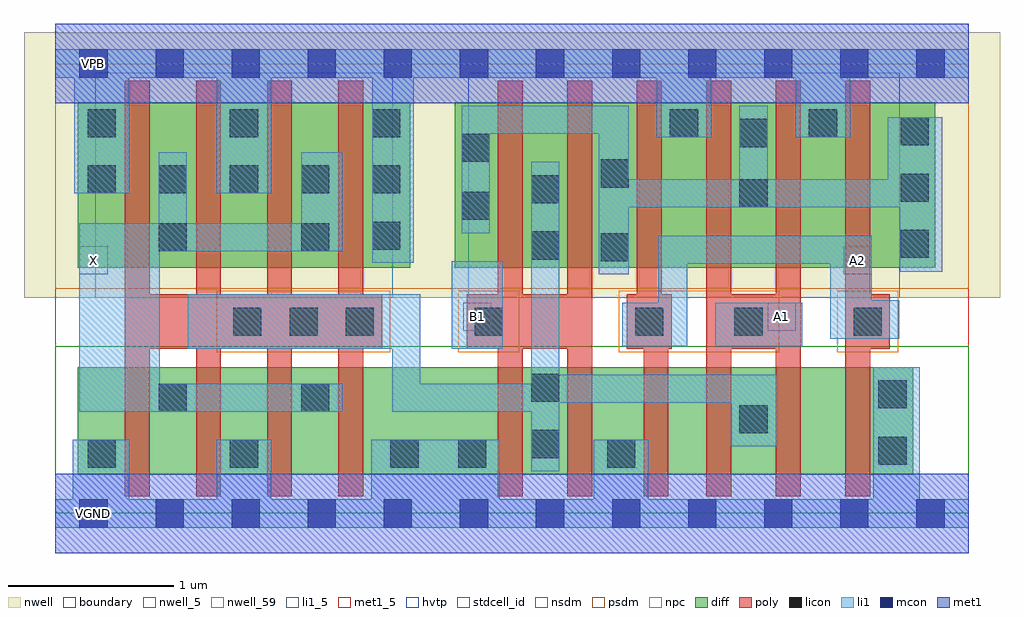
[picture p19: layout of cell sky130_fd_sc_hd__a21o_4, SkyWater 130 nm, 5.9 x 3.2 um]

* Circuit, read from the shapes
.subckt sky130_fd_sc_hd__a21o_4 A1 A2 B1 VGND VNB VPB VPWR X
XM1 X n1 VGND VNB sky130_fd_pr__nfet_01v8 w=0.65 l=0.15 m=4
XM2 n1 B1 VGND VNB sky130_fd_pr__nfet_01v8 w=0.65 l=0.15 m=2
XM3 n2 A2 VGND VNB sky130_fd_pr__nfet_01v8 w=0.65 l=0.15
XM4 n1 A1 n2 VNB sky130_fd_pr__nfet_01v8 w=0.65 l=0.15
XM5 n3 A1 n1 VNB sky130_fd_pr__nfet_01v8 w=0.65 l=0.15
XM6 VGND A2 n3 VNB sky130_fd_pr__nfet_01v8 w=0.65 l=0.15
XM7 X n1 VPWR VPB sky130_fd_pr__pfet_01v8_hvt w=1 l=0.15 m=4
XM8 n1 B1 n4 VPB sky130_fd_pr__pfet_01v8_hvt w=1 l=0.15 m=2
XM9 VPWR A2 n4 VPB sky130_fd_pr__pfet_01v8_hvt w=1 l=0.15 m=2
XM10 n4 A1 VPWR VPB sky130_fd_pr__pfet_01v8_hvt w=1 l=0.15 m=2
.ends

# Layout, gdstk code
import gdstk
lib = gdstk.Library(unit=1e-6, precision=1e-09)
def R(c, l, rs):  # rectangles x0, y0, x1, y1
    for r in rs: c.add(gdstk.rectangle(r[:2], r[2:], *l))
def A(c, l, x, y, w, h, nx, ny, dx, dy):  # array of equal rectangles
    R(c, l, [(x+i*dx, y+j*dy, x+i*dx+w, y+j*dy+h) for i in range(nx) for j in range(ny)])
nwell_5 = (64, 5)
nwell = (64, 20)
nwell_59 = (64, 59)
diff = (65, 20)
poly = (66, 20)
licon = (66, 44)
li1_5 = (67, 5)
li1 = (67, 20)
mcon = (67, 44)
met1_5 = (68, 5)
met1 = (68, 20)
hvtp = (78, 44)
stdcell_id = (81, 4)
nsdm = (93, 44)
psdm = (94, 20)
npc = (95, 20)
boundary = (235, 4)

sky130_fd_sc_hd__a21o_4 = lib.new_cell('sky130_fd_sc_hd__a21o_4')
R(sky130_fd_sc_hd__a21o_4, nwell_5, [(0.145,2.635,0.315,2.805)])
R(sky130_fd_sc_hd__a21o_4, nwell, [(-0.19,1.305,5.71,2.91)])
R(sky130_fd_sc_hd__a21o_4, nwell_59, [(0.145,-0.085,0.315,0.085)])
R(sky130_fd_sc_hd__a21o_4, diff, [(0.135,0.235,5.185,0.885), (0.135,1.485,2.145,2.485), (2.415,1.485,5.32,2.485)])
A(sky130_fd_sc_hd__a21o_4, poly, 0.42, 0.105, 0.15, 0.89, 4, 1, 0.43, 0)
A(sky130_fd_sc_hd__a21o_4, poly, 3.935, 0.105, 0.15, 0.89, 3, 1, 0.42, 0)
A(sky130_fd_sc_hd__a21o_4, poly, 0.42, 1.325, 0.15, 1.29, 4, 1, 0.43, 0)
A(sky130_fd_sc_hd__a21o_4, poly, 2.675, 1.325, 0.15, 1.29, 6, 1, 0.42, 0)
R(sky130_fd_sc_hd__a21o_4, poly, [(2.675,0.105,2.825,0.995), (3.095,0.105,3.245,0.995), (3.555,0.105,3.705,0.995), (0.42,0.995,1.975,1.325), (2.485,0.995,3.245,1.325), (3.455,0.995,3.725,1.325), (3.935,0.995,4.505,1.325), (4.775,0.995,5.045,1.325)])
A(sky130_fd_sc_hd__a21o_4, licon, 1.075, 1.075, 0.17, 0.17, 3, 1, 0.34, 0)
A(sky130_fd_sc_hd__a21o_4, licon, 5.11, 1.545, 0.17, 0.17, 1, 3, 0, 0.34)
A(sky130_fd_sc_hd__a21o_4, licon, 0.195, 1.935, 0.17, 0.17, 5, 1, 0.43, 0)
A(sky130_fd_sc_hd__a21o_4, licon, 0.195, 2.275, 0.17, 0.17, 3, 1, 0.86, 0)
R(sky130_fd_sc_hd__a21o_4, licon, [(0.195,0.275,0.365,0.445), (1.055,0.275,1.225,0.445), (2.025,0.275,2.195,0.445), (2.435,0.275,2.605,0.445), (3.335,0.275,3.505,0.445), (4.975,0.295,5.145,0.465), (2.875,0.335,3.045,0.505), (4.135,0.485,4.305,0.655), (0.625,0.615,0.795,0.785), (1.485,0.615,1.655,0.785), (4.975,0.635,5.145,0.805), (2.875,0.675,3.045,0.845), (2.535,1.075,2.705,1.245), (3.505,1.075,3.675,1.245), (4.105,1.075,4.275,1.245), (4.825,1.075,4.995,1.245), (3.295,1.525,3.465,1.695), (2.875,1.535,3.045,1.705), (0.625,1.585,0.795,1.755), (1.485,1.585,1.655,1.755), (1.915,1.595,2.085,1.765), (2.455,1.775,2.625,1.945), (4.135,1.85,4.305,2.02), (2.875,1.875,3.045,2.045), (3.295,1.97,3.465,2.14), (2.455,2.125,2.625,2.295), (4.135,2.215,4.305,2.385), (3.715,2.275,3.885,2.445), (4.555,2.275,4.725,2.445)])
R(sky130_fd_sc_hd__a21o_4, li1_5, [(2.465,1.105,2.635,1.275), (4.305,1.105,4.475,1.275), (0.145,1.445,0.315,1.615), (4.765,1.445,4.935,1.615)])
R(sky130_fd_sc_hd__a21o_4, li1, [(0,-0.085,5.52,0.085), (0.105,0.085,0.445,0.445), (0.975,0.085,1.305,0.445), (1.91,0.085,2.685,0.445), (3.255,0.085,3.585,0.445), (4.945,0.085,5.225,0.885), (2.875,0.255,3.045,0.615), (4.085,0.405,4.365,0.67), (0.145,0.615,1.735,0.785), (2.035,0.615,3.045,0.67), (2.035,0.67,4.365,0.785), (0.145,0.785,0.63,1.585), (2.035,0.785,2.205,0.995), (2.875,0.785,4.365,0.84), (2.875,0.84,3.045,2.125), (0.8,0.995,2.205,1.325), (2.395,0.995,2.705,1.525), (3.425,1.01,3.82,1.275), (3.99,1.01,4.515,1.275), (4.685,1.055,5.1,1.29), (3.645,1.275,3.82,1.51), (4.685,1.29,4.935,1.51), (3.285,1.445,3.465,1.85), (5.105,1.46,5.36,1.85), (3.645,1.51,4.935,1.68), (1.915,1.515,2.165,2.635), (0.145,1.585,1.735,1.755), (2.455,1.695,2.625,2.295), (0.625,1.755,0.795,2.185), (1.485,1.755,1.735,2.185), (3.285,1.85,5.36,2.02), (0.115,1.935,0.445,2.635), (0.975,1.935,1.305,2.635), (3.285,2.02,3.465,2.295), (4.135,2.02,4.305,2.465), (5.03,2.02,5.36,2.395), (3.635,2.275,3.965,2.635), (4.475,2.275,4.805,2.635), (2.455,2.295,3.465,2.465), (0,2.635,5.52,2.805)])
A(sky130_fd_sc_hd__a21o_4, mcon, 0.145, -0.085, 0.17, 0.17, 12, 2, 0.46, 2.72)
R(sky130_fd_sc_hd__a21o_4, met1_5, [(0.145,-0.085,0.315,0.085), (0.145,2.635,0.315,2.805)])
R(sky130_fd_sc_hd__a21o_4, met1, [(0,-0.24,5.52,0.24), (0,2.48,5.52,2.96)])
R(sky130_fd_sc_hd__a21o_4, hvtp, [(0.24,1.305,2.04,2.665), (2.495,1.305,5.105,2.665)])
R(sky130_fd_sc_hd__a21o_4, stdcell_id, [(0,0,5.52,2.72)])
R(sky130_fd_sc_hd__a21o_4, nsdm, [(0,0,5.52,1.01)])
R(sky130_fd_sc_hd__a21o_4, psdm, [(0,1.36,5.52,2.72)])
R(sky130_fd_sc_hd__a21o_4, npc, [(0.975,0.975,2.025,1.345), (2.435,0.975,2.805,1.345), (3.405,0.975,4.375,1.345), (4.725,0.975,5.095,1.345)])
R(sky130_fd_sc_hd__a21o_4, boundary, [(0,0,5.52,2.72)])
sky130_fd_sc_hd__a21o_4.add(gdstk.Label('A1', (4.39,1.19), layer=67, texttype=5))
sky130_fd_sc_hd__a21o_4.add(gdstk.Label('A2', (4.85,1.53), layer=67, texttype=5))
sky130_fd_sc_hd__a21o_4.add(gdstk.Label('B1', (2.55,1.19), layer=67, texttype=5))
sky130_fd_sc_hd__a21o_4.add(gdstk.Label('VGND', (0.23,0), layer=68, texttype=5))
sky130_fd_sc_hd__a21o_4.add(gdstk.Label('VNB', (0.23,0), layer=64, texttype=59))
sky130_fd_sc_hd__a21o_4.add(gdstk.Label('VPB', (0.23,2.72), layer=64, texttype=5))
sky130_fd_sc_hd__a21o_4.add(gdstk.Label('VPWR', (0.23,2.72), layer=68, texttype=5))
sky130_fd_sc_hd__a21o_4.add(gdstk.Label('X', (0.23,1.53), layer=67, texttype=5))

lib.write_gds('sky130_fd_sc_hd__a21o_4.gds')
